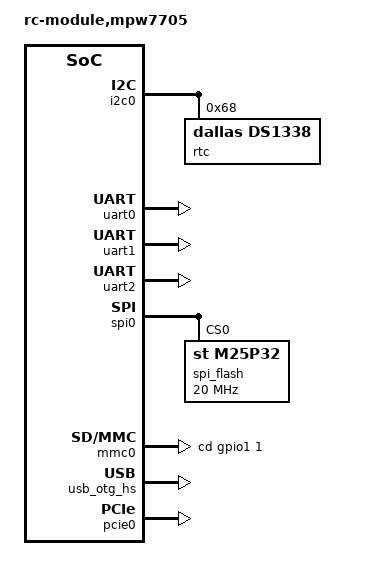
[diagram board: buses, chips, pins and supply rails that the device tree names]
/*
 * Device Tree Source for RC-Module TX011 platform
 *
 * Copyright © 2019 Alexey Spirkov <alexeis@astrosoft.ru>
 *
 * This file is licensed under the terms of the GNU General Public
 * License version 2.  This program is licensed "as is" without
 * any warranty of any kind, whether express or implied.
 */

/include/ "mpw7705.dtsi"

/ {
	model = "rc-module,mpw7705";
	compatible = "rc-module,mpw7705";

	aliases {
		serial0 = &uart0;
		serial1 = &uart1;
		serial2 = &uart2;
		mmc0 = &mmc0;
	};

	plb {
		lsif0 {
			greth1: greth1@0x3C034000 {
				mac-address = [ EC 17 66 77 05 02 ];
				status = "ok";
			};
			
		};

		lsif1 {						
			i2c0: i2c@0x3C05A000 {
				status = "ok";
				rtc@68 {
					compatible = "dallas,ds1338";
					reg = <0x68>;
				};
			};						

			uart0: uart0@3C05D000 {
				status = "ok";
			};

			uart1: uart2@3C05E000 {
				status = "ok";
			};

			uart2: uart3@3C05F000 {
				status = "ok";
			};

			spi0: spi0@0x3C061000 {
				status = "ok";

				spi_flash@0 {
					compatible = "st,m25p32", "spi-flash";
					reg = <0>;
					spi-max-frequency = <20000000>;
				};
				
			};			

			mmc0: mmc0@0x3C064000 {
				max-frequency = <8000000>;
				cd-gpios = <&gpio1 1 0>;	/* card detect */
				status = "ok";
			};

			gpio0: gpio0@0x3C065000 {
				status = "ok";
			};

			gpio1: gpio1@0x3C066000 {
				status = "ok";
			};

			usb_otg_hs: usb_otg_hs@0x3C06D000 {
				mode = <1>;			/* 1 - host, 2 - device */
				status = "ok";
			};			
		};		
		
		apb0 {
			thermal: thermal@0x38003000 {
				status = "ok";
			};

			cpufreq: cpufreq@0x38006000 {
				/*	     freq       fb  pre post div	*/
				freqs = <200000     32  1   2   0>,
						<400000     32  1   1   0>,
						<800000     64  1   1   0>;

				status = "ok";
			};
		};

		xhsif0 {
			compatible = "ibm,apb";	 /* to check bus type */
			#address-cells = <2>;
			#size-cells = <2>;
			ranges;
			//dma-ranges = <0x40000000 0x00000000 0x00000000 0x40000000>;

			pcie0: pcie@1010000000 {
				compatible = "rcm,nwl-pcie-2.11";
				status = "ok";
				#address-cells = <3>;
				#size-cells = <2>;
				#interrupt-cells = <1>;
				msi-controller;
				device_type = "pci";
				interrupt-parent = <&MPIC>;
				interrupts = <86 4>, /* misc */
						<87 4>,	/* DMA */
						<85 4>,	/* legacy */
						<84 4>,	/* MSI_1 [63...32] */
						<83 4>;	/* MSI_0 [31...0] */
				interrupt-names = "misc", "dummy", "legacy",
						"msi1", "msi0";
				msi-parent = <&pcie0>;
				reg = <0x010 0x10000000 0x0 0x1000000>,	/* PCI0 */
					<0x10 0x3c000000 0x0 0x10000>,		/* xhsif0 pci control */
					<0x10 0x11000000 0x0 0x1000000>,	/* ecam */
					<0x10 0x3cb00000 0x0 0x40000>;		/* serdes */
				reg-names = "breg", "pcireg", "cfg", "serdes";

//                        pci_space  < pci_addr          > < cpu_addr          > < size       >
//				ranges = <0x02000000 0x00000000 0x12020000 0x00000010 0x12020000 0x0 0x00040000>;
				ranges = <0x03000000 0x00000000 0x12020000 0x00000010 0x12020000 0x0 0x05FE0000>;
//				dma-ranges = <0x03000000 0x1 0x0 0x0 0x00000000 0x1 0x0>;

				bus-range = <0x00 0x0f>;
				interrupt-map-mask = <0x0 0x0 0x0 0x7>;
				interrupt-map = <0x0 0x0 0x0 0x1 &pcie0_intc 0x1>,
						<0x0 0x0 0x0 0x2 &pcie0_intc 0x2>,
						<0x0 0x0 0x0 0x3 &pcie0_intc 0x3>,
						<0x0 0x0 0x0 0x4 &pcie0_intc 0x4>;
				pcie0_intc: legacy-interrupt-controller {
					interrupt-controller;
					#address-cells = <0>;
					#interrupt-cells = <1>;
				};
			};
		};

		xhsif1 {
			compatible = "ibm,apb";	 /* to check bus type */
			#address-cells = <2>;
			#size-cells = <2>;
			ranges;
			//dma-ranges = <0x40000000 0x00000000 0x00000000 0x40000000>;

			pcie1: pcie@1018000000 {
				compatible = "rcm,nwl-pcie-2.11";
				status = "disabled";
				#address-cells = <3>;
				#size-cells = <2>;
				#interrupt-cells = <1>;
				msi-controller;
				device_type = "pci";
				interrupt-parent = <&MPIC>;
				interrupts = <94 4>, /* misc */
						<95 4>,	/* DMA */
						<93 4>,	/* legacy */
						<92 4>,	/* MSI_1 [63...32] */
						<91 4>;	/* MSI_0 [31...0] */
				interrupt-names = "misc", "dummy", "legacy",
						"msi1", "msi0";
				msi-parent = <&pcie1>;
				reg = <0x010 0x18000000 0x0 0x1000000>,	/* PCI0 */
					  <0x10 0x3c010000 0x0 0x10000>,	/* xhsif1 pci control */
					  <0x10 0x19000000 0x0 0x1000000>,	/* ecam */
					  <0x10 0x3cb40000 0x0 0x40000>;	/* serdes */
				reg-names = "breg", "pcireg", "cfg", "serdes";

//                        pci_space  < pci_addr          > < cpu_addr          > < size       >			// https://elinux.org/Device_Tree_Usage#PCI_Host_Bridge
				ranges = //<0x03000000 0x00000004 0x00000000 0x00000013 0x00000000 0x1 0x00000000>;
//						  0x01000000 0x00000000 0x1a020000 0x00000010 0x1a020000 0x0 0x00020000
						  <0x43000000 0x00000000 0x1a020000 0x00000010 0x1a020000 0x0 0x05FE0000>;

				// dma-ranges = <0x03000000 0x1 0x0 0x0 0x00000000 0x1 0x0>;

				bus-range = <0x00 0x0f>;
				interrupt-map-mask = <0x0 0x0 0x0 0x7>;
				interrupt-map = <0x0 0x0 0x0 0x1 &pcie1_intc 0x1>,
						<0x0 0x0 0x0 0x2 &pcie1_intc 0x2>,
						<0x0 0x0 0x0 0x3 &pcie1_intc 0x3>,
						<0x0 0x0 0x0 0x4 &pcie1_intc 0x4>;
				pcie1_intc: legacy-interrupt-controller {
					interrupt-controller;
					#address-cells = <0>;
					#interrupt-cells = <1>;
				};
			};
		};

		dspcores {
			nmc3_0_core0: nmc3_0_core0@0x39000000 {
				core-name = "K1879-nmc";
				status = "ok";
			};
			nmc3_0_core1: nmc3_0_core1@0x39020000 {
				core-name = "K1879-nmc";
				status = "ok";
			};
			nmc3_1_core0: nmc3_1_core0@0x39040000 {
				core-name = "K1879-nmc";
				status = "ok";
			};
			nmc3_1_core1: nmc3_1_core1@0x39060000 {
				core-name = "K1879-nmc";
				status = "ok";
			};
		};
	};

	thermal-zones {
			cpu-thermal {
					polling-delay-passive = <0>;
					polling-delay =  <1000>; 
					thermal-sensors = <&thermal>;
					
					trips {
							cpu-crit {
									temperature     = <100000>;
									hysteresis      = <0>;
									type            = "critical";
							};
					};

					cooling-maps {
					};
			};
	};

	chosen {
		stdout-path = &uart0;
	};
};
